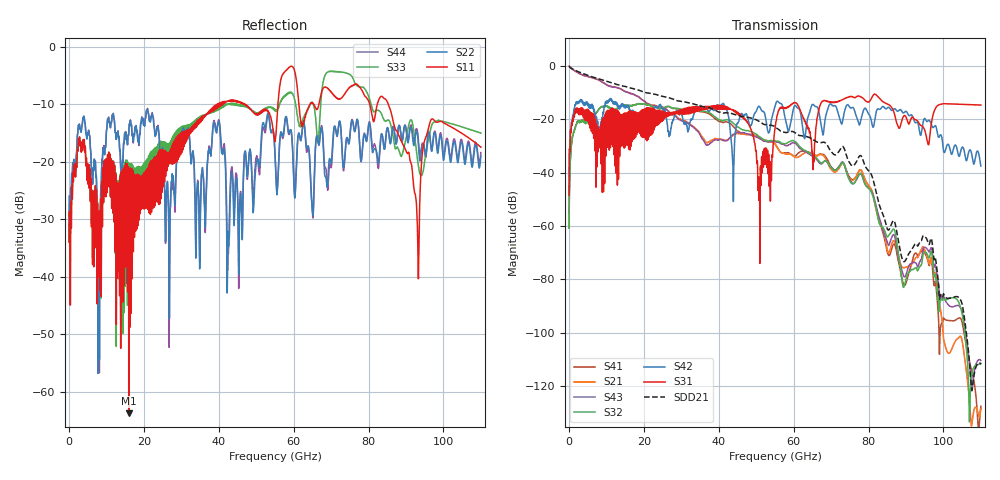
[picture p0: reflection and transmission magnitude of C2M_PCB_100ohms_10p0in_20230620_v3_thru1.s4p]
! Info: Touchstone file created by Circ.  Input file=C2M_PCB_100ohms_10p0in_20230620_v3.circ
# Hz S RI R 50
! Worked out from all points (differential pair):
!   11000 points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, 10 MHz to 110 GHz, reference 50 ohm
!   strongest paths, dB at 10 MHz, 27.51 GHz, 55.01 GHz, 82.51 GHz, 110 GHz:
!     S31: -48.5, -17.4, -23.8, -11.6, -14.7
!     S42: -48.4, -21.3, -15.1, -16.1, -37.6
!     S32: -60.8, -15.8, -28.1, -57.1, -111.5
!     S43: -0.2, -18.2, -28.5, -55.2, -110.4
!     S21: -0.2, -17.9, -29.1, -57.0, -128.3
!     S41: -60.7, -16.0, -29.3, -56.0, -127.5
!   taken as a pair (ports 3,1 in; 4,2 out), SDD21 dB: -0.2, -12.4, -22.8, -50.3, -111.8
!   lowest |S11| = -63.8 dB at 15.94 GHz (marker M1), VSWR 1.00, Z = 50 + j0.061 ohm
!   |S11| at or under -10 dB: start of sweep to 39.57 GHz; 47.07 GHz to 55.78 GHz (8.712 GHz wide, 16.9 % of centre); 85.27 GHz to end of sweep (the widest 3 of 13)
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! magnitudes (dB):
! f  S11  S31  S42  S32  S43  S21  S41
! 10 MHz  -34.0  -48.5  -48.4  -60.8  -0.2  -0.2  -60.7
! 2.22 GHz  -17.8  -16.3  -13.7  -21.2  -2.5  -2.5  -21.2
! 15.94 GHz  -63.8  -28.6  -16.1  -14.8  -10.1  -10.1  -14.8
! 43.57 GHz  -9.3  -16.6  -32.9  -21.1  -26.0  -26.4  -22.3
! 50.82 GHz  -11.8  -44.5  -15.3  -26.6  -27.1  -26.8  -27.2
! 60.05 GHz  -3.8  -13.9  -15.5  -28.2  -28.9  -33.9  -34.0
! 110 GHz  -17.5  -14.7  -37.6  -111.5  -110.4  -128.3  -127.5
